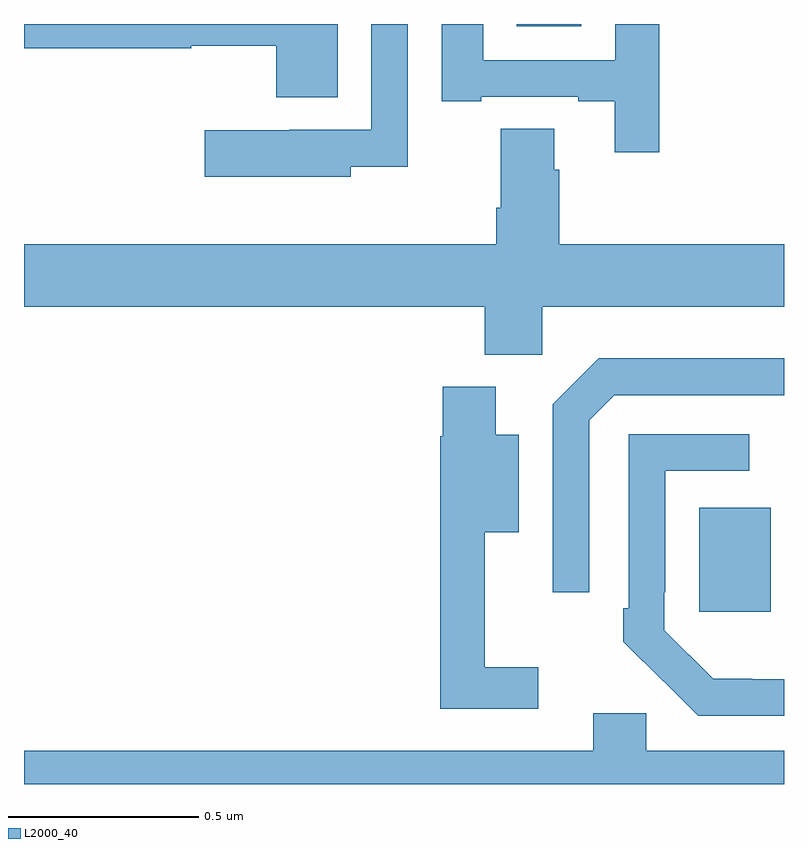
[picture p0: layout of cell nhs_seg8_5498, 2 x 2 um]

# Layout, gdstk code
import gdstk
lib = gdstk.Library(unit=1e-6, precision=1e-09)
def R(c, l, rs):  # rectangles x0, y0, x1, y1
    for r in rs: c.add(gdstk.rectangle(r[:2], r[2:], *l))
def P(c, l, *ps):  # polygons
    for p in ps: c.add(gdstk.Polygon(p, *l))
L2000_40 = (2000, 40)

nhs_seg8_5498 = lib.new_cell('nhs_seg8_5498')
R(nhs_seg8_5498, L2000_40, [(185.777,1126.353,185.965,1126.627), (185.297,1127.894,185.467,1127.9)])
P(nhs_seg8_5498, L2000_40, [(185.672,1127.9),(185.556,1127.9),(185.556,1127.805),(185.209,1127.805),(185.209,1127.9),(185.099,1127.9),(185.099,1127.697),(185.203,1127.697),(185.203,1127.709),(185.459,1127.709),(185.459,1127.697),(185.555,1127.697),(185.555,1127.562),(185.672,1127.562)],
  [(184.86,1127.525),(185.01,1127.525),(185.01,1127.9),(184.914,1127.9),(184.914,1127.622),(184.698,1127.622),(184.698,1127.62),(184.476,1127.62),(184.476,1127.498),(184.86,1127.498)],
  [(184.825,1127.9),(184,1127.9),(184,1127.836),(184.44,1127.836),(184.44,1127.843),(184.664,1127.843),(184.664,1127.707),(184.825,1127.707)],
  [(185.364,1127.156),(186,1127.156),(186,1127.32),(185.408,1127.32),(185.408,1127.516),(185.395,1127.516),(185.395,1127.624),(185.255,1127.624),(185.255,1127.416),(185.243,1127.416),(185.243,1127.32),(184,1127.32),(184,1127.156),(185.213,1127.156),(185.213,1127.03),(185.364,1127.03)],
  [(185.487,1126.857),(185.553,1126.923),(186,1126.923),(186,1127.02),(185.512,1127.02),(185.391,1126.899),(185.391,1126.404),(185.487,1126.404)],
  [(185.353,1126.207),(185.213,1126.207),(185.213,1126.562),(185.302,1126.562),(185.302,1126.819),(185.242,1126.819),(185.242,1126.945),(185.102,1126.945),(185.102,1126.815),(185.095,1126.815),(185.095,1126.098),(185.353,1126.098)],
  [(186,1126.176),(185.917,1126.176),(185.917,1126.177),(185.814,1126.177),(185.685,1126.305),(185.685,1126.405),(185.688,1126.405),(185.688,1126.725),(185.908,1126.725),(185.908,1126.821),(185.592,1126.821),(185.592,1126.363),(185.577,1126.363),(185.577,1126.275),(185.682,1126.17),(185.683,1126.171),(185.774,1126.08),(186,1126.08)],
  [(186,1125.988),(185.637,1125.988),(185.637,1126.086),(185.498,1126.086),(185.498,1125.988),(184,1125.988),(184,1125.9),(186,1125.9)])

lib.write_gds('nhs_seg8_5498.gds')
